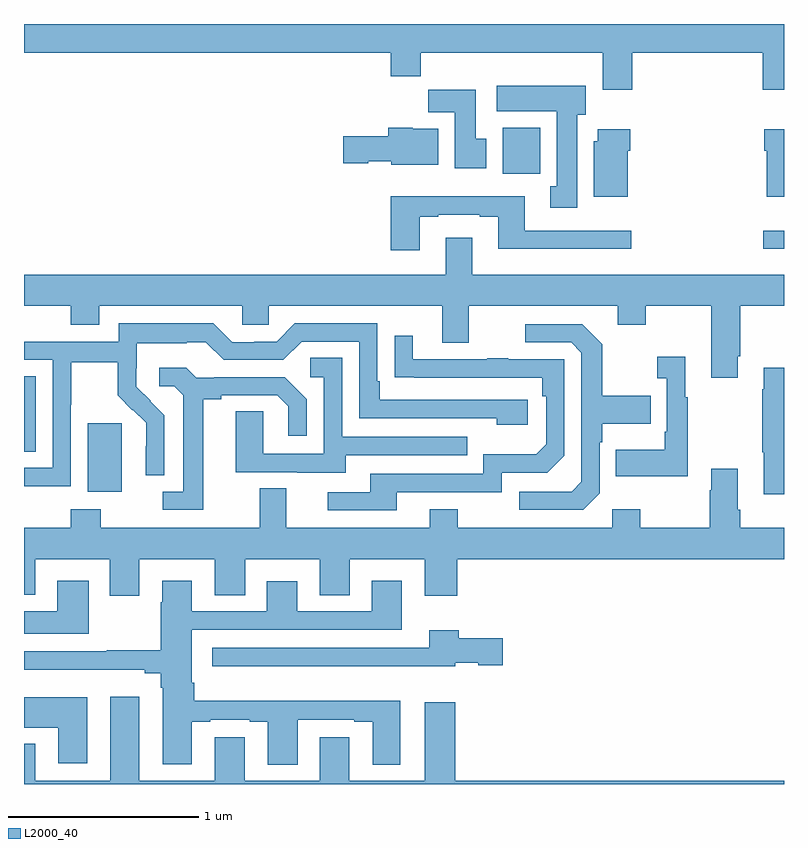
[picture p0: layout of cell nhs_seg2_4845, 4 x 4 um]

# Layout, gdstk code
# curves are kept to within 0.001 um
import gdstk
lib = gdstk.Library(unit=1e-6, precision=1e-09)
def R(c, l, rs):  # rectangles x0, y0, x1, y1
    for r in rs: c.add(gdstk.rectangle(r[:2], r[2:], *l))
def P(c, l, *ps):  # polygons
    for p in ps: c.add(gdstk.Polygon(p, *l))
L2000_40 = (2000, 40)

nhs_seg2_4845 = lib.new_cell('nhs_seg2_4845')
R(nhs_seg2_4845, L2000_40, [(375.335,633.338,375.514,633.699), (375,633.55,375.061,633.947), (378.891,634.616,379,634.713), (377.519,635.012,377.716,635.254)])
P(nhs_seg2_4845, L2000_40, [(378.2,635.648),(378.887,635.648),(378.887,635.454),(379,635.454),(379,635.8),(375,635.8),(375,635.648),(376.931,635.648),(376.931,635.524),(377.087,635.524),(377.087,635.648),(378.047,635.648),(378.047,635.454),(378.2,635.454)],
  [(377.911,635.322),(377.956,635.322),(377.956,635.476),(377.487,635.476),(377.487,635.342),(377.804,635.342),(377.804,634.946),(377.771,634.946),(377.771,634.833),(377.911,634.833)],
  [(377.434,635.196),(377.377,635.196),(377.377,635.455),(377.128,635.455),(377.128,635.336),(377.267,635.336),(377.267,635.04),(377.434,635.04)],
  [(377.179,635.248),(377.046,635.248),(377.046,635.254),(376.916,635.254),(376.916,635.208),(376.68,635.208),(376.68,635.066),(376.812,635.066),(376.812,635.078),(376.932,635.078),(376.932,635.06),(377.179,635.06)],
  [(379,635.245),(378.896,635.245),(378.896,635.132),(378.908,635.132),(378.908,634.892),(379,634.892)],
  [(378.178,635.132),(378.191,635.132),(378.191,635.245),(378.02,635.245),(378.02,635.184),(377.999,635.184),(377.999,634.892),(378.178,634.892)],
  [(377.083,634.785),(377.179,634.785),(377.179,634.797),(377.399,634.797),(377.399,634.785),(377.495,634.785),(377.495,634.616),(378.196,634.616),(378.196,634.713),(377.635,634.713),(377.635,634.894),(376.931,634.894),(376.931,634.608),(377.083,634.608)],
  [(377.359,634.675),(377.219,634.675),(377.219,634.48),(375,634.48),(375,634.316),(375.245,634.316),(375.245,634.217),(375.397,634.217),(375.397,634.316),(376.149,634.316),(376.149,634.218),(376.287,634.218),(376.287,634.316),(377.201,634.316),(377.201,634.122),(377.341,634.122),(377.341,634.316),(378.125,634.316),(378.125,634.217),(378.273,634.217),(378.273,634.316),(378.617,634.316),(378.617,633.939),(378.757,633.939),(378.757,634.051),(378.77,634.051),(378.77,634.316),(379,634.316),(379,634.48),(377.359,634.48)],
  [(375.246,633.796),(375.249,633.796),(375.249,634.02),(375.493,634.02),(375.493,633.845),(375.57,633.768),(375.573,633.771),(375.644,633.701),(375.644,633.578),(375.642,633.578),(375.642,633.424),(375.738,633.424),(375.738,633.742),(375.592,633.89),(375.592,633.987),(375.594,633.987),(375.594,634.121),(375.857,634.121),(375.857,634.125),(375.957,634.125),(376.05,634.032),(376.365,634.032),(376.461,634.128),(376.764,634.128),(376.764,633.726),(377.489,633.726),(377.489,633.692),(377.65,633.692),(377.65,633.822),(376.873,633.822),(376.873,633.919),(376.86,633.919),(376.86,634.224),(376.425,634.224),(376.329,634.128),(376.211,634.128),(376.211,634.125),(376.095,634.125),(375.995,634.225),(375.498,634.225),(375.498,634.128),(375,634.128),(375,634.032),(375.15,634.032),(375.15,633.465),(375,633.465),(375,633.367),(375.246,633.367)],
  [(378.03,633.33),(378.03,633.599),(378.043,633.599),(378.043,633.695),(378.299,633.695),(378.299,633.843),(378.043,633.843),(378.043,634.115),(377.937,634.221),(377.637,634.221),(377.637,634.125),(377.88,634.125),(377.934,634.071),(377.934,633.39),(377.883,633.339),(377.607,633.339),(377.607,633.243),(377.943,633.243)],
  [(376.963,633.336),(377.514,633.336),(377.514,633.438),(377.754,633.438),(377.844,633.528),(377.844,634.035),(377.549,634.035),(377.549,634.04),(377.437,634.04),(377.437,634.035),(377.047,634.035),(377.047,634.159),(376.951,634.159),(376.951,633.94),(377.728,633.939),(377.728,633.842),(377.748,633.842),(377.748,633.588),(377.695,633.535),(377.418,633.535),(377.418,633.432),(376.823,633.432),(376.823,633.336),(376.599,633.336),(376.599,633.24),(376.963,633.24)],
  [(378.493,633.835),(378.481,633.835),(378.481,634.048),(378.333,634.048),(378.333,633.935),(378.384,633.935),(378.384,633.655),(378.372,633.655),(378.372,633.559),(378.115,633.559),(378.115,633.419),(378.493,633.419)],
  [(376.693,633.531),(377.333,633.531),(377.333,633.627),(376.674,633.627),(376.674,634.043),(376.506,634.043),(376.506,633.942),(376.578,633.942),(376.578,633.537),(376.26,633.537),(376.26,633.761),(376.115,633.761),(376.115,633.441),(376.439,633.441),(376.439,633.437),(376.693,633.437)],
  [(379,633.991),(378.893,633.991),(378.893,633.878),(378.886,633.878),(378.886,633.547),(378.893,633.547),(378.893,633.324),(379,633.324)],
  [(375.943,633.824),(376.039,633.824),(376.039,633.846),(376.334,633.846),(376.391,633.789),(376.391,633.633),(376.488,633.633),(376.488,633.826),(376.372,633.942),(376,633.942),(376,633.939),(375.906,633.939),(375.854,633.991),(375.711,633.991),(375.711,633.894),(375.792,633.894),(375.839,633.847),(375.839,633.339),(375.729,633.339),(375.729,633.243),(375.943,633.243)],
  [(375.607,632.984),(376.004,632.984),(376.004,632.794),(376.165,632.794),(376.165,632.984),(376.556,632.984),(376.556,632.794),(376.714,632.794),(376.714,632.984),(377.108,632.984),(377.108,632.79),(377.279,632.79),(377.279,632.984),(379,632.984),(379,633.148),(378.77,633.148),(378.77,633.244),(378.757,633.244),(378.757,633.46),(378.617,633.46),(378.617,633.347),(378.61,633.347),(378.61,633.148),(378.243,633.148),(378.243,633.247),(378.096,633.247),(378.096,633.148),(377.283,633.148),(377.283,633.247),(377.135,633.247),(377.135,633.148),(376.381,633.148),(376.381,633.356),(376.241,633.356),(376.241,633.148),(375.405,633.148),(375.405,633.247),(375.245,633.247),(375.245,633.148),(375,633.148),(375,632.795),(375.058,632.795),(375.058,632.984),(375.452,632.984),(375.452,632.79),(375.607,632.79)],
  [(375.34,632.869),(375.176,632.869),(375.176,632.71),(375,632.71),(375,632.591),(375.34,632.591)],
  [(376.441,632.139),(376.739,632.139),(376.739,632.127),(376.835,632.127),(376.835,631.902),(376.981,631.902),(376.981,632.237),(375.896,632.237),(375.896,632.332),(375.883,632.332),(375.883,632.613),(376.987,632.613),(376.987,632.869),(376.829,632.869),(376.829,632.709),(376.438,632.709),(376.438,632.866),(376.277,632.866),(376.277,632.709),(375.883,632.709),(375.883,632.869),(375.728,632.869),(375.728,632.756),(375.721,632.756),(375.721,632.504),(375.436,632.504),(375.436,632.499),(375,632.499),(375,632.402),(375.635,632.402),(375.635,632.383),(375.719,632.383),(375.719,632.306),(375.731,632.306),(375.731,631.905),(375.883,631.905),(375.883,632.127),(375.979,632.127),(375.979,632.139),(376.187,632.139),(376.187,632.127),(376.283,632.127),(376.283,631.901),(376.441,631.901)],
  [(377.271,632.438),(377.39,632.438),(377.39,632.426),(377.521,632.426),(377.521,632.568),(377.288,632.568),(377.288,632.608),(377.132,632.608),(377.132,632.517),(375.99,632.517),(375.99,632.42),(377.271,632.42)],
  [(379,631.816),(377.269,631.816),(377.269,632.23),(377.108,632.23),(377.108,631.816),(376.711,631.816),(376.711,632.047),(376.556,632.047),(376.556,631.816),(376.162,631.816),(376.162,632.047),(376.004,632.047),(376.004,631.816),(375.607,631.816),(375.607,632.26),(375.455,632.26),(375.455,631.816),(375.058,631.816),(375.058,632.011),(375,632.011),(375,631.8),(379,631.8)],
  [(375.334,632.257),(375,632.257),(375,632.096),(375.179,632.096),(375.179,631.908),(375.334,631.908)])

lib.write_gds('nhs_seg2_4845.gds')
